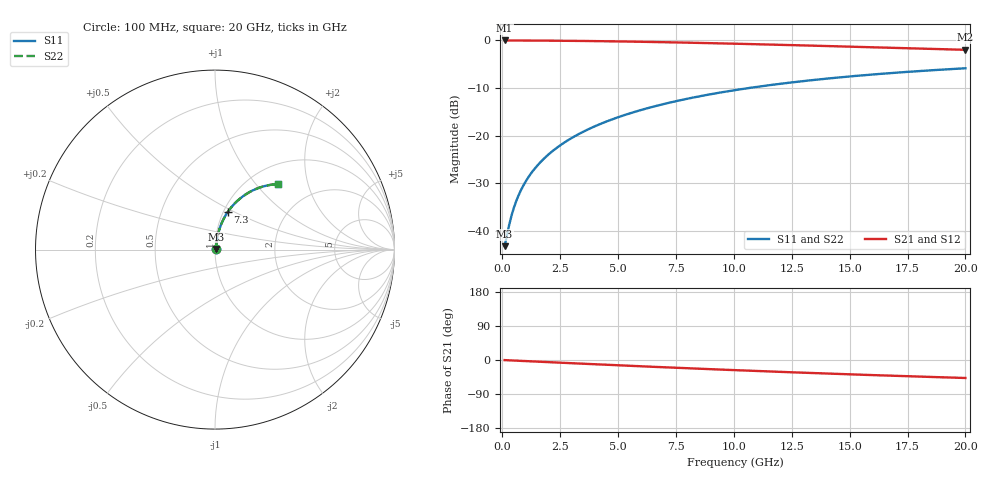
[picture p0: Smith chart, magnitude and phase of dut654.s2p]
! Touchstone file exported from HFSS 2024.1.0
!  File:  C:/UserFiles/LocalFiles/RDL_TSV_Batchsim/temp_RDL_top_654_1779781472.aedt
!  Generated:  03:47:08 PM May 26, 2026
!  Design:  RDL_top
!  Project:  temp_RDL_top_654_1779781472
!  Setup:  Setup1
!  Solution:  Sweep
! Variables:
!  dtsv = 10.80580581um
!  hbump = 3um
!  htsv = 91.14um
!  ldown = 100um
!  lrdl = 624.81um
!  p = 40
!  p1 = 47.72um
!  rhole = 1um
!  t = 450um
!  tdown = 3.915915916um
!  trdl = 2.88um
!  wdown = 15.38538539um
!  wrdl = 12.68um
# GHz S MA R 50.000000
! Terminal data exported
! Port[1] = Box2_T1
! Port[2] = Box2_T2
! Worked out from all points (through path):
!   200 points, 100 MHz to 20 GHz, reference 50 ohm
!   highest |S21| = -0.05 dB at 100 MHz (marker M1); lowest = -2.0 dB at 20 GHz (marker M2)
!   group delay of S21, straight-line fit = 6.6 ps
!   lowest |S11| = -43.2 dB at 100 MHz (marker M3), VSWR 1.01, Z = 50.6 + j0.333 ohm
!   |S11| at or under -10 dB: start of sweep to 10.68 GHz
!   |S22| runs from -43.2 to -5.9 dB; largest |S21 - S12| = 2.6e-15
!   S11 on the Smith chart (normalised r, x): 100 MHz: 1.01, +0.01; 7.3 GHz: 1.05, +0.47; 20 GHz: 1.35, +1.32
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0.1  0.006949 28.2  0.9939 -0.3  0.9939 -0.3  0.006949 28.2
! Gamma 0 0 0 0
! Port Impedance 50 0 50 0
0.3  0.01169 56.9  0.9937 -0.9  0.9937 -0.9  0.01169 56.9
0.4  0.01457 63.2  0.9935 -1.2  0.9935 -1.2  0.01457 63.2
0.5  0.01755 67.2  0.9933 -1.5  0.9933 -1.5  0.01755 67.2
0.6  0.02057 70.0  0.9931 -1.7  0.9931 -1.7  0.02057 70.0
0.7  0.02362 72.0  0.9929 -2.0  0.9929 -2.0  0.02362 72.0
0.9  0.02973 74.6  0.9924 -2.6  0.9924 -2.6  0.02973 74.6
1.2  0.03894 76.9  0.9917 -3.4  0.9917 -3.4  0.03894 76.9
1.4  0.04509 77.7  0.9911 -4.0  0.9911 -4.0  0.0451 77.7
1.7  0.05436 78.5  0.9902 -4.8  0.9902 -4.8  0.05436 78.5
2.2  0.06983 79.0  0.9884 -6.2  0.9884 -6.2  0.06983 79.0
2.8  0.0884 78.8  0.9858 -7.9  0.9858 -7.9  0.0884 78.8
3.5  0.11 78.1  0.9819 -9.9  0.9819 -9.9  0.11 78.1
4.2  0.1315 77.0  0.9774 -11.8  0.9774 -11.8  0.1315 77.0
5  0.1559 75.7  0.9714 -14.0  0.9714 -14.0  0.1559 75.7
6.8  0.2094 72.1  0.9552 -18.7  0.9552 -18.7  0.2094 72.1
7.3  0.2239 71.1  0.9501 -20.0  0.9501 -20.0  0.2239 71.1
8.6  0.2607 68.3  0.936 -23.3  0.936 -23.3  0.2607 68.3
10.1  0.3012 65.1  0.9184 -26.9  0.9184 -26.9  0.3012 65.2
13.4  0.382 58.3  0.8768 -34.4  0.8768 -34.4  0.3821 58.3
16.7  0.4509 51.8  0.8342 -41.2  0.8342 -41.2  0.451 51.8
20  0.5081 45.9  0.7928 -47.5  0.7928 -47.5  0.5082 45.9
